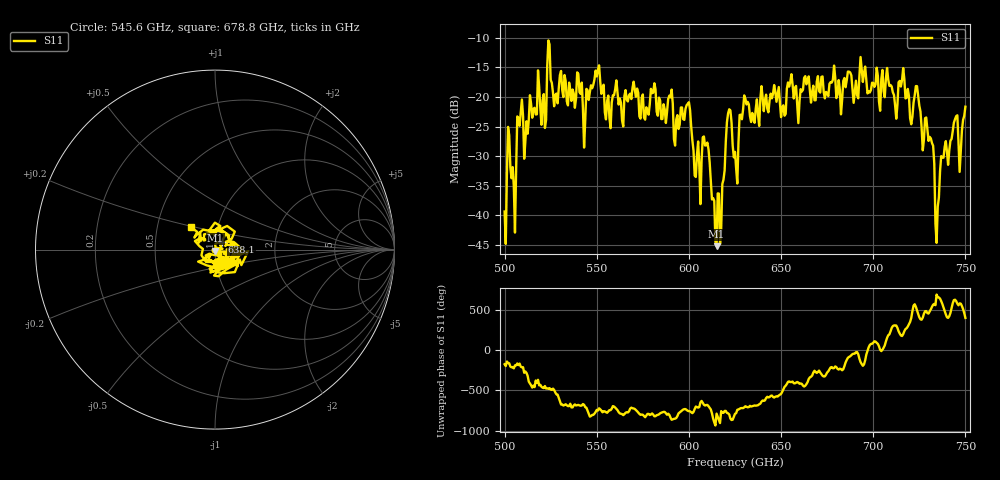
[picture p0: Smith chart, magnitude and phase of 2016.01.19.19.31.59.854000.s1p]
!Created with skrf (http://scikit-rf.org).
# GHz S RI R 50.0
!freq ReS11 ImS11
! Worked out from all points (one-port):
!   401 points, 500 GHz to 750 GHz, reference 50 ohm
!   lowest |S11| = -45.2 dB at 615 GHz (marker M1), VSWR 1.01, Z = 50.2 - j0.512 ohm
!   |S11| at or under -10 dB: start of sweep to end of sweep
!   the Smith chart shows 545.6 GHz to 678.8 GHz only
!   S11 on the Smith chart (normalised r, x): 545.6 GHz: 1.05, -0.19; 638.1 GHz: 1.08, +0.09; 678.8 GHz: 0.74, +0.19
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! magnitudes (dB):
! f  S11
! 500 GHz  -39.4
! 502.5 GHz  -26.5
! 505 GHz  -35.1
! 508.1 GHz  -24.9
! 521.2 GHz  -19.5
! 524.4 GHz  -11.1
! 531.2 GHz  -18.8
! 545.6 GHz  -20.5
! 562.5 GHz  -20.3
! 580.6 GHz  -19.3
! 593.8 GHz  -23.1
! 599.4 GHz  -21.2
! 605 GHz  -27.5
! 609.4 GHz  -28.2
! 615 GHz  -45.2
! 618.1 GHz  -34.7
! 621.9 GHz  -22.1
! 625 GHz  -29.3
! 630.6 GHz  -20.3
! 638.1 GHz  -24.9
! 656.2 GHz  -17.9
! 678.8 GHz  -14.7
! 687.5 GHz  -15.9
! 718.8 GHz  -18.6
! 730 GHz  -27.4
! 735 GHz  -38.5
! 738.1 GHz  -30.3
! 750 GHz  -21.6
